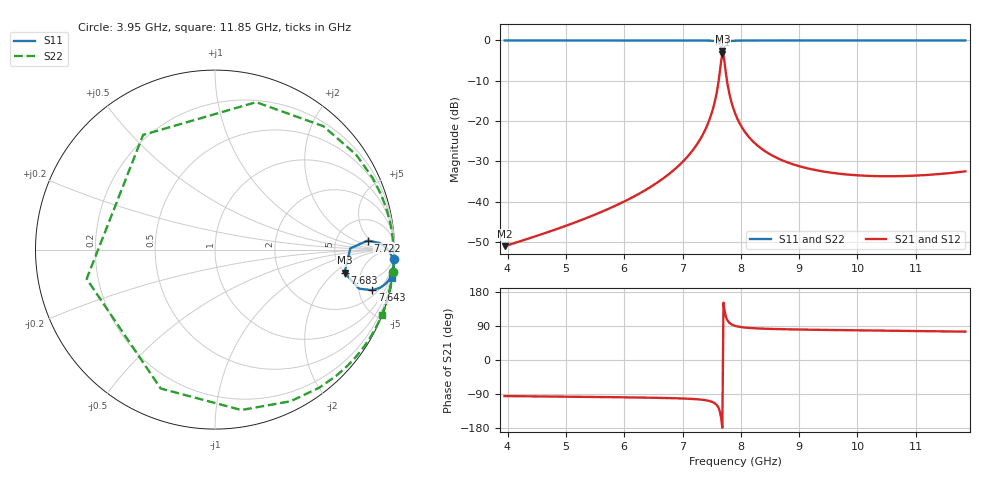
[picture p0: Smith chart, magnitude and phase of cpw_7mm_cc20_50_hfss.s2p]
! Touchstone file exported from HFSS 2025.2.0
!  File:  D:/lfl/Documents/Ansoft/06082026_005pf.aedt
!  Generated:  06:04:16 PM Jul 18, 2026
!  Design:  cpw_7mm1
!  Project:  06082026_005pf
!  Setup:  Setup1
!  Solution:  Sweep
# GHz S MA R 50.000000
! Terminal data exported
! Port[1] = 1
! Port[2] = 2
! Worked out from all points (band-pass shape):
!   401 points, 3.95 GHz to 11.85 GHz, reference 50 ohm
!   highest |S21| = -3.35 dB at 7.683 GHz (marker M1); lowest = -51.1 dB at 3.95 GHz (marker M2)
!   |S21| within 3 dB of the highest: 7.652 GHz to 7.728 GHz (75.98 MHz wide, 0.988 % of centre)
!   lowest |S11| = -2.7 dB at 7.683 GHz (marker M3), VSWR 6.50, Z = 246 - j137 ohm
!   |S11| at or under -10 dB: nowhere
!   |S22| runs from -2.7 to 0.0 dB; largest |S21 - S12| = 6.9e-10
!   S11 on the Smith chart (normalised r, x): 3.95 GHz: 0, -37; 7.643 GHz: 2.71, -6.82; 7.683 GHz: 4.92, -2.74; 7.722 GHz: 11, +4; 11.85 GHz: 0, -13
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3.95  1 -3.1  0.002797 -95.2  0.002797 -95.2  1 -7.3
! Gamma 0 0 0 0
! Port Impedance 50 0 50 0
5.27325  1 -4.2  0.005931 -97.2  0.005931 -97.2  1 -10.2
6.5965  0.9998 -5.5  0.01779 -99.9  0.01779 -99.9  0.9998 -14.3
7.1495  0.9992 -6.4  0.041 -102.6  0.041 -102.6  0.9992 -18.7
7.48525  0.9932 -8.4  0.1161 -109.3  0.1161 -109.3  0.9932 -30.2
7.584  0.9753 -10.8  0.2209 -118.4  0.2209 -118.4  0.9753 -45.9
7.6235  0.944 -13.0  0.3298 -128.3  0.3298 -128.3  0.9441 -63.5
7.64325  0.9057 -14.5  0.424 -137.6  0.424 -137.6  0.9057 -80.7
7.663  0.831 -15.2  0.5563 -153.2  0.5563 -153.2  0.8311 -111.3
7.68275  0.7332 -10.1  0.68 -178.6  0.68 -178.6  0.7334 -167.2
7.7025  0.7542 0.5  0.6566 151.3  0.6566 151.3  0.7543 122.1
7.72225  0.8527 3.4  0.5224 128.9  0.5224 128.9  0.8528 74.4
7.742  0.9153 2.3  0.4028 115.5  0.4028 115.5  0.9153 48.7
7.76175  0.9475 0.9  0.3198 107.4  0.3198 107.4  0.9475 33.9
7.7815  0.9649 -0.2  0.2628 102.2  0.2628 102.2  0.9649 24.6
7.84075  0.9855 -2.2  0.1696 94.0  0.1696 94.0  0.9855 10.2
7.9  0.9921 -3.2  0.1254 90.2  0.1254 90.2  0.9921 3.6
8.07775  0.9974 -4.6  0.0719 85.5  0.0719 85.5  0.9974 -4.5
8.35425  0.999 -5.4  0.0453 82.8  0.0453 82.8  0.999 -8.9
9.22325  0.9997 -6.6  0.02509 79.9  0.02509 79.9  0.9997 -13.7
10.5465  0.9998 -7.9  0.02062 77.3  0.02062 77.3  0.9998 -17.6
11.85  0.9997 -9.1  0.02374 74.8  0.02374 74.8  0.9997 -21.2
